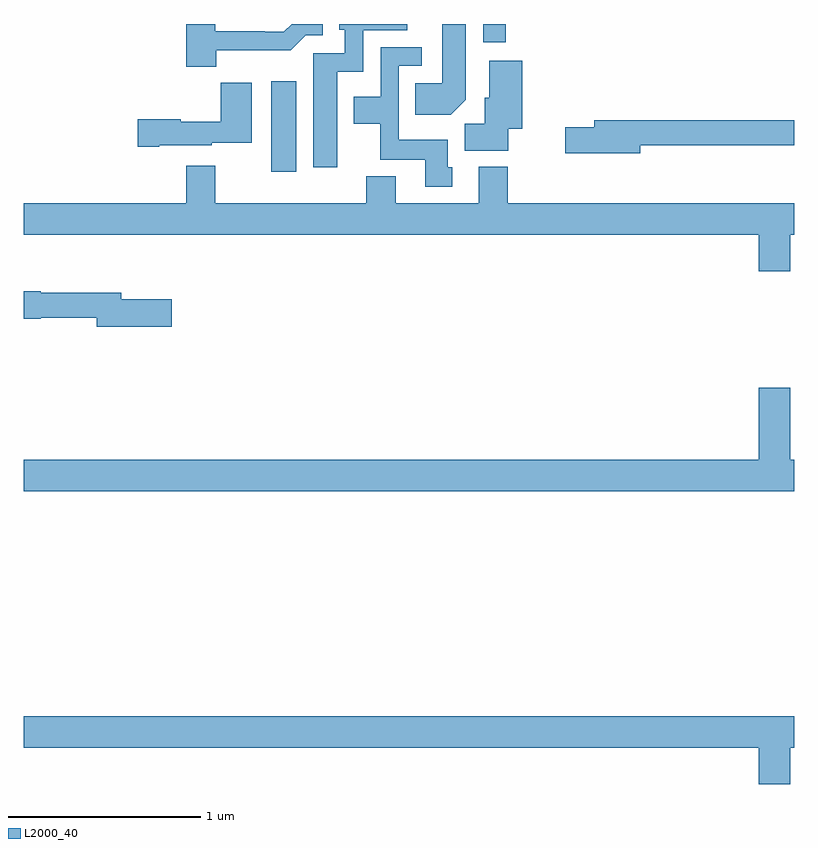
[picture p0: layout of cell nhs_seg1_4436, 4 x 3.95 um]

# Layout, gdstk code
import gdstk
lib = gdstk.Library(unit=1e-6, precision=1e-09)
def R(c, l, rs):  # rectangles x0, y0, x1, y1
    for r in rs: c.add(gdstk.rectangle(r[:2], r[2:], *l))
def P(c, l, *ps):  # polygons
    for p in ps: c.add(gdstk.Polygon(p, *l))
L2000_40 = (2000, 40)

nhs_seg1_4436 = lib.new_cell('nhs_seg1_4436')
R(nhs_seg1_4436, L2000_40, [(354.284,513.432,354.415,513.901), (355.386,514.104,355.502,514.199)])
P(nhs_seg1_4436, L2000_40, [(354.628,513.95),(354.762,513.95),(354.762,514.166),(354.991,514.166),(354.991,514.199),(354.638,514.199),(354.638,514.17),(354.666,514.17),(354.666,514.047),(354.503,514.047),(354.503,513.456),(354.628,513.456)],
  [(353.998,514.062),(354.387,514.062),(354.465,514.14),(354.553,514.14),(354.553,514.199),(354.391,514.199),(354.35,514.158),(354.251,514.158),(354.251,514.161),(353.995,514.161),(353.995,514.199),(353.843,514.199),(353.843,513.977),(353.998,513.977)],
  [(355.294,513.806),(355.294,514.198),(355.172,514.198),(355.172,513.892),(355.033,513.892),(355.033,513.728),(355.216,513.728)],
  [(355.225,513.456),(355.201,513.456),(355.201,513.598),(354.948,513.598),(354.948,513.981),(355.066,513.981),(355.066,514.077),(354.852,514.077),(354.852,513.82),(354.713,513.82),(354.713,513.68),(354.85,513.68),(354.85,513.494),(355.085,513.494),(355.085,513.354),(355.225,513.354)],
  [(355.516,513.656),(355.589,513.656),(355.589,514.009),(355.418,514.009),(355.418,513.816),(355.394,513.816),(355.394,513.68),(355.289,513.68),(355.289,513.542),(355.516,513.542)],
  [(353.704,513.569),(353.976,513.569),(353.976,513.581),(354.184,513.581),(354.184,513.895),(354.022,513.895),(354.022,513.691),(353.814,513.691),(353.814,513.704),(353.592,513.704),(353.592,513.562),(353.704,513.562)],
  [(356.2,513.57),(357,513.57),(357,513.698),(355.961,513.698),(355.961,513.662),(355.812,513.662),(355.812,513.527),(356.2,513.527)],
  [(356.98,513.104),(357,513.104),(357,513.268),(355.514,513.268),(355.514,513.457),(355.361,513.457),(355.361,513.268),(354.931,513.268),(354.931,513.409),(354.779,513.409),(354.779,513.268),(353.995,513.268),(353.995,513.463),(353.843,513.463),(353.843,513.268),(353,513.268),(353,513.104),(356.816,513.104),(356.816,512.916),(356.98,512.916)],
  [(353.767,512.769),(353.506,512.769),(353.506,512.803),(353.088,512.803),(353.088,512.811),(353,512.811),(353,512.669),(353.088,512.669),(353.088,512.674),(353.378,512.674),(353.378,512.627),(353.767,512.627)],
  [(357,511.936),(356.98,511.936),(356.98,512.311),(356.816,512.311),(356.816,511.936),(353,511.936),(353,511.772),(357,511.772)],
  [(356.98,510.44),(357,510.44),(357,510.604),(353,510.604),(353,510.44),(356.816,510.44),(356.816,510.252),(356.98,510.252)])

lib.write_gds('nhs_seg1_4436.gds')
